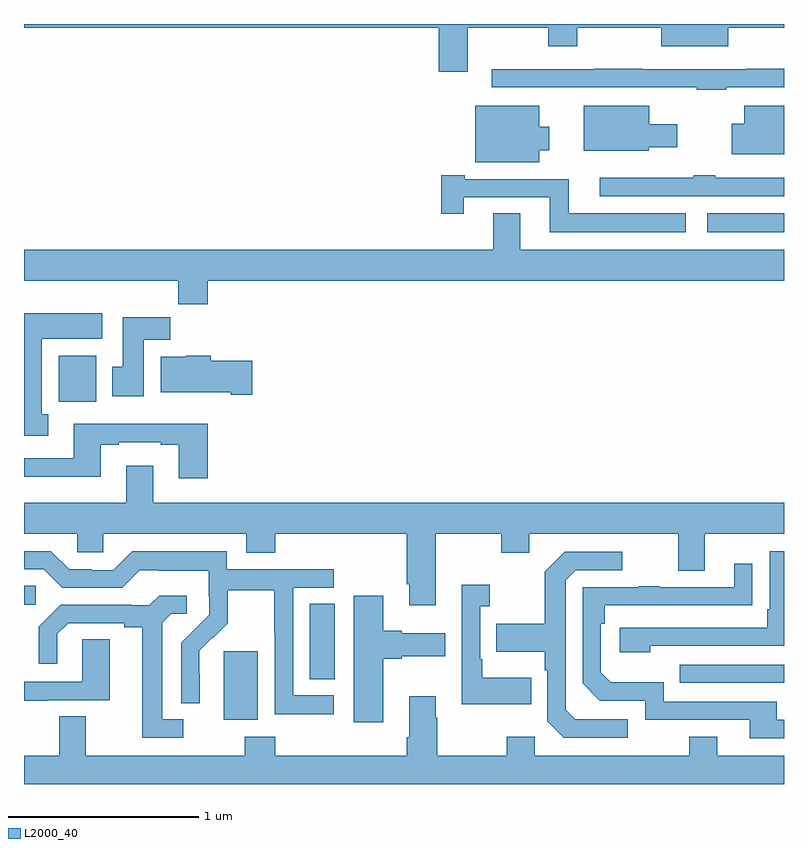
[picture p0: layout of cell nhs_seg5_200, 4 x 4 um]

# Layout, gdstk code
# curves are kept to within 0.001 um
import gdstk
lib = gdstk.Library(unit=1e-6, precision=1e-09)
def R(c, l, rs):  # rectangles x0, y0, x1, y1
    for r in rs: c.add(gdstk.rectangle(r[:2], r[2:], *l))
def P(c, l, *ps):  # polygons
    for p in ps: c.add(gdstk.Polygon(p, *l))
L2000_40 = (2000, 40)

nhs_seg5_200 = lib.new_cell('nhs_seg5_200')
R(nhs_seg5_200, L2000_40, [(124.052,833.138,124.231,833.499), (126.451,833.331,127,833.427), (124.505,833.35,124.636,833.747), (123,833.742,123.061,833.843), (123.182,834.812,123.379,835.054), (126.597,835.703,127,835.804)])
P(nhs_seg5_200, L2000_40, [(125.335,836.78),(125.758,836.78),(125.758,836.681),(125.913,836.681),(125.913,836.78),(126.353,836.78),(126.353,836.681),(126.706,836.681),(126.706,836.78),(127,836.78),(127,836.799),(123,836.799),(123,836.78),(125.183,836.78),(125.183,836.547),(125.335,836.547)],
  [(126.695,836.466),(127,836.466),(127,836.564),(126.802,836.564),(126.802,836.562),(126.257,836.562),(126.257,836.564),(126.001,836.564),(126.001,836.562),(125.463,836.562),(125.463,836.466),(126.388,836.466),(126.388,836.465),(126.542,836.465),(126.542,836.454),(126.695,836.454)],
  [(125.713,836.135),(125.764,836.135),(125.764,836.257),(125.713,836.257),(125.713,836.368),(125.375,836.368),(125.375,836.072),(125.713,836.072)],
  [(126.288,836.15),(126.439,836.15),(126.439,836.272),(126.292,836.272),(126.292,836.368),(125.945,836.368),(125.945,836.132),(126.288,836.132)],
  [(127,836.368),(126.791,836.368),(126.791,836.275),(126.726,836.275),(126.726,836.114),(127,836.114)],
  [(126.484,835.804),(125.866,835.804),(125.866,835.983),(125.32,835.983),(125.32,836.003),(125.197,836.003),(125.197,835.8),(125.314,835.8),(125.314,835.887),(125.768,835.887),(125.768,835.703),(126.484,835.703)],
  [(127,835.989),(126.638,835.989),(126.638,836.002),(126.526,836.002),(126.526,835.99),(126.03,835.99),(126.03,835.893),(127,835.893)],
  [(123.968,835.448),(127,835.448),(127,835.612),(125.611,835.612),(125.611,835.802),(125.471,835.802),(125.471,835.612),(123,835.612),(123,835.448),(123.811,835.448),(123.811,835.324),(123.968,835.324)],
  [(123.127,834.746),(123.094,834.746),(123.094,835.142),(123.412,835.142),(123.412,835.276),(123,835.276),(123,834.633),(123.127,834.633)],
  [(123.631,835.136),(123.77,835.136),(123.77,835.255),(123.521,835.255),(123.521,834.996),(123.464,834.996),(123.464,834.84),(123.631,834.84)],
  [(124.201,835.026),(123.983,835.026),(123.983,835.054),(123.852,835.054),(123.852,835.048),(123.719,835.048),(123.719,834.86),(124.088,834.86),(124.088,834.848),(124.201,834.848)],
  [(123.968,834.694),(123.263,834.694),(123.263,834.513),(123,834.513),(123,834.416),(123.403,834.416),(123.403,834.585),(123.499,834.585),(123.499,834.597),(123.719,834.597),(123.719,834.585),(123.815,834.585),(123.815,834.408),(123.968,834.408)],
  [(125.167,834.116),(125.512,834.116),(125.512,834.017),(125.659,834.017),(125.659,834.116),(126.443,834.116),(126.443,833.922),(126.583,833.922),(126.583,834.116),(127,834.116),(127,834.28),(123.679,834.28),(123.679,834.475),(123.539,834.475),(123.539,834.28),(123,834.28),(123,834.116),(123.279,834.116),(123.279,834.018),(123.417,834.018),(123.417,834.116),(124.169,834.116),(124.169,834.017),(124.322,834.017),(124.322,834.116),(125.015,834.116),(125.015,833.851),(125.027,833.851),(125.027,833.739),(125.167,833.739)],
  [(124.63,833.265),(124.416,833.265),(124.416,833.832),(124.63,833.832),(124.63,833.928),(124.068,833.928),(124.068,834.025),(123.571,834.025),(123.471,833.925),(123.356,833.925),(123.356,833.928),(123.237,833.928),(123.141,834.024),(123,834.024),(123,833.928),(123.105,833.928),(123.201,833.832),(123.516,833.832),(123.609,833.925),(123.709,833.925),(123.709,833.921),(123.972,833.921),(123.972,833.787),(123.974,833.787),(123.974,833.69),(123.828,833.542),(123.828,833.224),(123.924,833.224),(123.923,833.501),(123.993,833.571),(123.996,833.568),(124.073,833.645),(124.073,833.82),(124.318,833.82),(124.318,833.596),(124.32,833.596),(124.32,833.167),(124.63,833.167)],
  [(126.296,833.526),(127,833.526),(127,834.024),(126.924,834.024),(126.924,833.719),(126.911,833.719),(126.911,833.622),(126.135,833.622),(126.135,833.492),(126.296,833.492)],
  [(126.178,833.139),(125.901,833.139),(125.85,833.19),(125.85,833.871),(125.904,833.925),(126.148,833.925),(126.148,834.021),(125.847,834.021),(125.742,833.915),(125.742,833.643),(125.485,833.643),(125.485,833.495),(125.742,833.495),(125.742,833.399),(125.754,833.399),(125.754,833.13),(125.841,833.043),(126.178,833.043)],
  [(127,833.136),(126.961,833.136),(126.961,833.232),(126.366,833.232),(126.366,833.335),(126.089,833.335),(126.036,833.388),(126.036,833.642),(126.056,833.642),(126.056,833.739),(126.833,833.74),(126.833,833.959),(126.737,833.959),(126.737,833.835),(126.347,833.835),(126.347,833.84),(126.235,833.84),(126.235,833.835),(125.94,833.835),(125.94,833.328),(126.03,833.238),(126.27,833.238),(126.27,833.136),(126.821,833.136),(126.821,833.04),(127,833.04)],
  [(125.669,833.359),(125.413,833.359),(125.413,833.455),(125.4,833.455),(125.4,833.735),(125.452,833.735),(125.452,833.848),(125.304,833.848),(125.304,833.219),(125.669,833.219)],
  [(123.838,833.139),(123.727,833.139),(123.727,833.647),(123.774,833.694),(123.856,833.694),(123.856,833.791),(123.712,833.791),(123.66,833.739),(123.566,833.739),(123.566,833.742),(123.194,833.742),(123.078,833.626),(123.078,833.433),(123.175,833.433),(123.175,833.589),(123.232,833.646),(123.527,833.646),(123.527,833.624),(123.623,833.624),(123.623,833.043),(123.838,833.043)],
  [(124.891,833.459),(124.987,833.459),(124.987,833.471),(125.218,833.471),(125.218,833.593),(124.987,833.593),(124.987,833.606),(124.891,833.606),(124.891,833.791),(124.736,833.791),(124.736,833.124),(124.891,833.124)],
  [(123.127,833.241),(123.451,833.241),(123.451,833.561),(123.306,833.561),(123.306,833.337),(123,833.337),(123,833.237),(123.127,833.237)],
  [(127,832.948),(126.649,832.948),(126.649,833.047),(126.502,833.047),(126.502,832.948),(125.688,832.948),(125.688,833.047),(125.542,833.047),(125.542,832.948),(125.175,832.948),(125.175,833.147),(125.167,833.147),(125.167,833.26),(125.027,833.26),(125.027,833.044),(125.015,833.044),(125.015,832.948),(124.322,832.948),(124.322,833.047),(124.162,833.047),(124.162,832.948),(123.325,832.948),(123.325,833.156),(123.185,833.156),(123.185,832.948),(123,832.948),(123,832.799),(127,832.799)])

lib.write_gds('nhs_seg5_200.gds')
